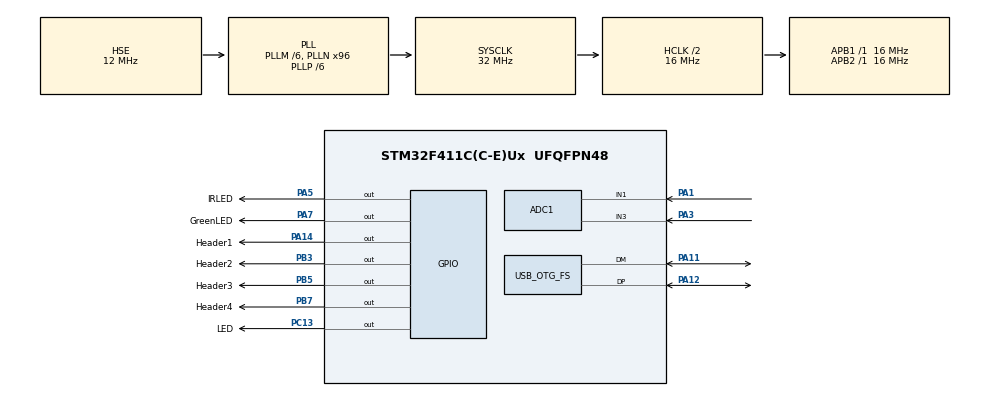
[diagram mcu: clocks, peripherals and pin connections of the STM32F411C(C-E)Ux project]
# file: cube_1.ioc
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ADC1.Channel-0\#ChannelRegularConversion=ADC_CHANNEL_3
ADC1.ContinuousConvMode=ENABLE
ADC1.EOCSelection=ADC_EOC_SINGLE_CONV
ADC1.NbrOfConversion=1
ADC1.NbrOfConversionFlag=1
ADC1.Rank-0\#ChannelRegularConversion=1
ADC1.SamplingTime-0\#ChannelRegularConversion=ADC_SAMPLETIME_480CYCLES
ADC1.ScanConvMode=ENABLE
ADC1.master=1
Mcu.Family=STM32F4
Mcu.Name=STM32F411C(C-E)Ux
Mcu.Package=UFQFPN48
NVIC.OTG_FS_IRQn=true\:0\:0\:false\:false\:true\:false\:true
NVIC.PriorityGroup=NVIC_PRIORITYGROUP_4
PA1.GPIO_Mode=GPIO_MODE_ANALOG
PA1.GPIO_PuPd=GPIO_NOPULL
PA1.Signal=ADCx_IN1
PA11.Mode=Device_Only
PA11.Signal=USB_OTG_FS_DM
PA12.Mode=Device_Only
PA12.Signal=USB_OTG_FS_DP
PA14.GPIO_Label=Header1
PA14.GPIO_ModeDefaultOutputPP=GPIO_MODE_OUTPUT_PP
PA14.GPIO_PuPd=GPIO_NOPULL
PA14.GPIO_Speed=GPIO_SPEED_FREQ_LOW
PA14.PinState=GPIO_PIN_RESET
PA14.Signal=GPIO_Output
PA3.GPIO_Mode=GPIO_MODE_ANALOG
PA3.GPIO_PuPd=GPIO_NOPULL
PA3.Signal=ADCx_IN3
PA5.GPIO_Label=IRLED
PA5.GPIO_ModeDefaultOutputPP=GPIO_MODE_OUTPUT_PP
PA5.GPIO_PuPd=GPIO_NOPULL
PA5.GPIO_Speed=GPIO_SPEED_FREQ_LOW
PA5.PinState=GPIO_PIN_RESET
PA5.Signal=GPIO_Output
PA7.GPIO_Label=GreenLED
PA7.GPIO_ModeDefaultOutputPP=GPIO_MODE_OUTPUT_PP
PA7.GPIO_PuPd=GPIO_NOPULL
PA7.GPIO_Speed=GPIO_SPEED_FREQ_LOW
PA7.PinState=GPIO_PIN_RESET
PA7.Signal=GPIO_Output
PB3.GPIO_Label=Header2
PB3.GPIO_ModeDefaultOutputPP=GPIO_MODE_OUTPUT_PP
PB3.GPIO_PuPd=GPIO_NOPULL
PB3.GPIO_Speed=GPIO_SPEED_FREQ_LOW
PB3.PinState=GPIO_PIN_RESET
PB3.Signal=GPIO_Output
PB5.GPIO_Label=Header3
PB5.GPIO_ModeDefaultOutputPP=GPIO_MODE_OUTPUT_PP
PB5.GPIO_PuPd=GPIO_NOPULL
PB5.GPIO_Speed=GPIO_SPEED_FREQ_LOW
PB5.PinState=GPIO_PIN_RESET
PB5.Signal=GPIO_Output
PB7.GPIO_Label=Header4
PB7.GPIO_ModeDefaultOutputPP=GPIO_MODE_OUTPUT_PP
PB7.GPIO_PuPd=GPIO_NOPULL
PB7.GPIO_Speed=GPIO_SPEED_FREQ_LOW
PB7.PinState=GPIO_PIN_RESET
PB7.Signal=GPIO_Output
PC13-ANTI_TAMP.GPIO_Label=LED
PC13-ANTI_TAMP.GPIO_ModeDefaultOutputPP=GPIO_MODE_OUTPUT_PP
PC13-ANTI_TAMP.GPIO_PuPd=GPIO_NOPULL
PC13-ANTI_TAMP.GPIO_Speed=GPIO_SPEED_FREQ_LOW
PC13-ANTI_TAMP.PinState=GPIO_PIN_RESET
PC13-ANTI_TAMP.Signal=GPIO_Output
PC14-OSC32_IN.Mode=LSE-External-Oscillator
PC14-OSC32_IN.Signal=RCC_OSC32_IN
PC15-OSC32_OUT.Mode=LSE-External-Oscillator
PC15-OSC32_OUT.Signal=RCC_OSC32_OUT
PH0\ -\ OSC_IN.Mode=HSE-External-Oscillator
PH0\ -\ OSC_IN.Signal=RCC_OSC_IN
PH1\ -\ OSC_OUT.Mode=HSE-External-Oscillator
PH1\ -\ OSC_OUT.Signal=RCC_OSC_OUT
ProjectManager.HeapSize=0x200
ProjectManager.StackSize=0x400
ProjectManager.TargetToolchain=Makefile
RCC.48MHZClocksFreq_Value=48000000
RCC.AHBCLKDivider=RCC_SYSCLK_DIV2
RCC.AHBFreq_Value=16000000
RCC.APB1Freq_Value=16000000
RCC.APB1TimFreq_Value=16000000
RCC.APB2Freq_Value=16000000
RCC.APB2TimFreq_Value=16000000
RCC.CortexFreq_Value=16000000
RCC.HCLKFreq_Value=16000000
RCC.HSE_VALUE=12000000
RCC.HSI_VALUE=16000000
RCC.PLLM=6
RCC.PLLN=96
RCC.PLLP=RCC_PLLP_DIV6
RCC.SYSCLKFreq_VALUE=32000000
RCC.SYSCLKSource=RCC_SYSCLKSOURCE_PLLCLK
RCC.VCOOutputFreq_Value=192000000
SH.ADCx_IN1.0=ADC1_IN1,IN1
SH.ADCx_IN3.0=ADC1_IN3,IN3
USB_DEVICE.CLASS_NAME_FS=CDC
USB_DEVICE.VirtualMode=Cdc
USB_DEVICE.VirtualModeFS=Cdc_FS
USB_OTG_FS.Sof_enable=DISABLE
USB_OTG_FS.VirtualMode=Device_Only
VP_ADC1_Vbat_Input.Mode=IN-Vbat
VP_USB_DEVICE_VS_USB_DEVICE_CDC_FS.Mode=CDC_FS
board=custom

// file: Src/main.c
/* USER CODE BEGIN Header */
/**
  ******************************************************************************
  * @file           : main.c
  * @brief          : Main program body
  ******************************************************************************
  * @attention
  *
  * <h2><center>&copy; Copyright (c) 2019 STMicroelectronics.
  * All rights reserved.</center></h2>
  *
  * This software component is licensed by ST under BSD 3-Clause license,
  * the "License"; You may not use this file except in compliance with the
  * License. You may obtain a copy of the License at:
  *                        opensource.org/licenses/BSD-3-Clause
  *
  ******************************************************************************
  */
/* USER CODE END Header */

#include "main.h"
#include "usb_device.h"

/* USER CODE BEGIN Includes */
#include "usbd_cdc_if.h"

/* USER CODE END Includes */

ADC_HandleTypeDef hadc1;

void SystemClock_Config(void);
static void MX_GPIO_Init(void);
static void MX_ADC1_Init(void);

/* USER CODE BEGIN 0 */

// Global variables storing data so we can print it over serial
volatile int do_send_readings = 0;
volatile int do_clear = 0;
const int num_readings = 16384;

/* USER CODE END 0 */

int main(void)
{

  /* MCU Configuration--------------------------------------------------------*/

  /* Reset of all peripherals, Initializes the Flash interface and the Systick. */
  HAL_Init();

  /* Configure the system clock */
  SystemClock_Config();

  /* Initialize all configured peripherals */
  MX_GPIO_Init();
  MX_ADC1_Init();
  MX_USB_DEVICE_Init();

  /* USER CODE BEGIN 2 */

	int32_t readings[num_readings];
	int valid_readings = 0; // If < num_readings, then the rest of the readings are uninitialized
	int curr_reading = 0; // Oldest readings, and the next to be written

	// Turn on the IR and green LEDs
	HAL_GPIO_WritePin(IRLED_GPIO_Port, IRLED_Pin, GPIO_PIN_SET);
	HAL_GPIO_WritePin(GreenLED_GPIO_Port, GreenLED_Pin, GPIO_PIN_SET);

  /* USER CODE END 2 */

  /* Infinite loop */
  while (1)
  {

    /* USER CODE BEGIN 3 */
    // HAL_GPIO_WritePin(LED_GPIO_Port, LED_Pin, GPIO_PIN_SET);

		if (valid_readings < num_readings) { // Delete this for rolling buffer
			HAL_ADC_Start(&hadc1);
			HAL_ADC_PollForConversion(&hadc1, 100); // Green
			readings[curr_reading] = HAL_ADC_GetValue(&hadc1);
			HAL_ADC_Stop(&hadc1);

			if (valid_readings < num_readings) valid_readings++;
			curr_reading = (curr_reading + 1) % num_readings;
		}

		if (do_send_readings) {
			// send data
			char data[16];
			for(int i = 0; i < valid_readings; i++) {
				sprintf(data, "%ld\n", readings[(i+curr_reading) % num_readings]);
				CDC_Transmit_FS((unsigned char*)data, strlen(data));
			}
			do_send_readings = 0;
		}
		if (do_clear) {
			// clear data
			valid_readings = 0;
			curr_reading = 0;
			do_clear = 0;
		}

		HAL_Delay(1);

  }
  /* USER CODE END 3 */
}

void SystemClock_Config(void)
{
  RCC_OscInitTypeDef RCC_OscInitStruct = {0};
  RCC_ClkInitTypeDef RCC_ClkInitStruct = {0};

  /** Configure the main internal regulator output voltage
  */
  __HAL_RCC_PWR_CLK_ENABLE();
  __HAL_PWR_VOLTAGESCALING_CONFIG(PWR_REGULATOR_VOLTAGE_SCALE1);
  /** Initializes the CPU, AHB and APB busses clocks
  */
  RCC_OscInitStruct.OscillatorType = RCC_OSCILLATORTYPE_HSE;
  RCC_OscInitStruct.HSEState = RCC_HSE_ON;
  RCC_OscInitStruct.PLL.PLLState = RCC_PLL_ON;
  RCC_OscInitStruct.PLL.PLLSource = RCC_PLLSOURCE_HSE;
  RCC_OscInitStruct.PLL.PLLM = 6;
  RCC_OscInitStruct.PLL.PLLN = 96;
  RCC_OscInitStruct.PLL.PLLP = RCC_PLLP_DIV6;
  RCC_OscInitStruct.PLL.PLLQ = 4;
  if (HAL_RCC_OscConfig(&RCC_OscInitStruct) != HAL_OK)
  {
    Error_Handler();
  }
  /** Initializes the CPU, AHB and APB busses clocks
  */
  RCC_ClkInitStruct.ClockType = RCC_CLOCKTYPE_HCLK|RCC_CLOCKTYPE_SYSCLK
                              |RCC_CLOCKTYPE_PCLK1|RCC_CLOCKTYPE_PCLK2;
  RCC_ClkInitStruct.SYSCLKSource = RCC_SYSCLKSOURCE_PLLCLK;
  RCC_ClkInitStruct.AHBCLKDivider = RCC_SYSCLK_DIV2;
  RCC_ClkInitStruct.APB1CLKDivider = RCC_HCLK_DIV1;
  RCC_ClkInitStruct.APB2CLKDivider = RCC_HCLK_DIV1;

  if (HAL_RCC_ClockConfig(&RCC_ClkInitStruct, FLASH_LATENCY_0) != HAL_OK)
  {
    Error_Handler();
  }
}

static void MX_ADC1_Init(void)
{

  ADC_ChannelConfTypeDef sConfig = {0};

  /** Configure the global features of the ADC (Clock, Resolution, Data Alignment and number of conversion)
  */
  hadc1.Instance = ADC1;
  hadc1.Init.ClockPrescaler = ADC_CLOCK_SYNC_PCLK_DIV2;
  hadc1.Init.Resolution = ADC_RESOLUTION_12B;
  hadc1.Init.ScanConvMode = ENABLE;
  hadc1.Init.ContinuousConvMode = ENABLE;
  hadc1.Init.DiscontinuousConvMode = DISABLE;
  hadc1.Init.ExternalTrigConvEdge = ADC_EXTERNALTRIGCONVEDGE_NONE;
  hadc1.Init.ExternalTrigConv = ADC_SOFTWARE_START;
  hadc1.Init.DataAlign = ADC_DATAALIGN_RIGHT;
  hadc1.Init.NbrOfConversion = 1;
  hadc1.Init.DMAContinuousRequests = DISABLE;
  hadc1.Init.EOCSelection = ADC_EOC_SINGLE_CONV;
  if (HAL_ADC_Init(&hadc1) != HAL_OK)
  {
    Error_Handler();
  }
  /** Configure for the selected ADC regular channel its corresponding rank in the sequencer and its sample time.
  */
  sConfig.Channel = ADC_CHANNEL_3;
  sConfig.Rank = 1;
  sConfig.SamplingTime = ADC_SAMPLETIME_480CYCLES;
  if (HAL_ADC_ConfigChannel(&hadc1, &sConfig) != HAL_OK)
  {
    Error_Handler();
  }

}

static void MX_GPIO_Init(void)
{
  GPIO_InitTypeDef GPIO_InitStruct = {0};

  /* GPIO Ports Clock Enable */
  __HAL_RCC_GPIOC_CLK_ENABLE();
  __HAL_RCC_GPIOH_CLK_ENABLE();
  __HAL_RCC_GPIOA_CLK_ENABLE();
  __HAL_RCC_GPIOB_CLK_ENABLE();

  /*Configure GPIO pin Output Level */
  HAL_GPIO_WritePin(LED_GPIO_Port, LED_Pin, GPIO_PIN_RESET);

  /*Configure GPIO pin Output Level */
  HAL_GPIO_WritePin(GPIOA, IRLED_Pin|GreenLED_Pin|Header1_Pin, GPIO_PIN_RESET);

  /*Configure GPIO pin Output Level */
  HAL_GPIO_WritePin(GPIOB, Header2_Pin|Header3_Pin|Header4_Pin, GPIO_PIN_RESET);

  /*Configure GPIO pin : LED_Pin */
  GPIO_InitStruct.Pin = LED_Pin;
  GPIO_InitStruct.Mode = GPIO_MODE_OUTPUT_PP;
  GPIO_InitStruct.Pull = GPIO_NOPULL;
  GPIO_InitStruct.Speed = GPIO_SPEED_FREQ_LOW;
  HAL_GPIO_Init(LED_GPIO_Port, &GPIO_InitStruct);

  /*Configure GPIO pins : IRLED_Pin GreenLED_Pin Header1_Pin */
  GPIO_InitStruct.Pin = IRLED_Pin|GreenLED_Pin|Header1_Pin;
  GPIO_InitStruct.Mode = GPIO_MODE_OUTPUT_PP;
  GPIO_InitStruct.Pull = GPIO_NOPULL;
  GPIO_InitStruct.Speed = GPIO_SPEED_FREQ_LOW;
  HAL_GPIO_Init(GPIOA, &GPIO_InitStruct);

  /*Configure GPIO pins : Header2_Pin Header3_Pin Header4_Pin */
  GPIO_InitStruct.Pin = Header2_Pin|Header3_Pin|Header4_Pin;
  GPIO_InitStruct.Mode = GPIO_MODE_OUTPUT_PP;
  GPIO_InitStruct.Pull = GPIO_NOPULL;
  GPIO_InitStruct.Speed = GPIO_SPEED_FREQ_LOW;
  HAL_GPIO_Init(GPIOB, &GPIO_InitStruct);

}

void Error_Handler(void)
{
}

/************************ (C) COPYRIGHT STMicroelectronics *****END OF FILE****/
